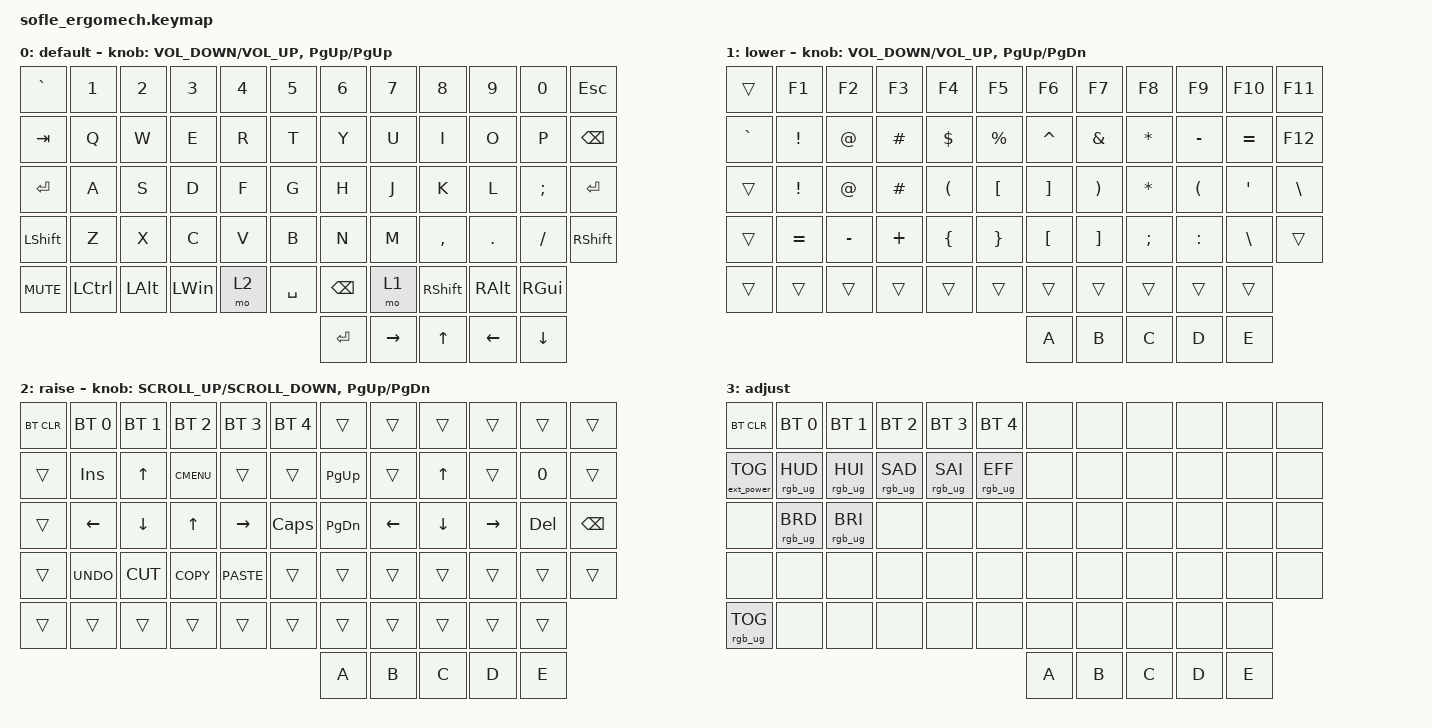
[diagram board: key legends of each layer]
/*
 * Copyright (c) 2020 The ZMK Contributors
 *
 * SPDX-License-Identifier: MIT
 */

#include <behaviors.dtsi>
#include <dt-bindings/zmk/bt.h>
#include <dt-bindings/zmk/ext_power.h>
#include <dt-bindings/zmk/keys.h>
#include <dt-bindings/zmk/rgb.h>

#define BASE 0
#define LOWER 1
#define RAISE 2
#define ADJUST 3

/ {
    // Activate ADJUST layer by pressing raise and lower

    conditional_layers {
        compatible = "zmk,conditional-layers";

        adjust_layer {
            if-layers = <LOWER RAISE>;
            then-layer = <ADJUST>;
        };
    };

    keymap {
        compatible = "zmk,keymap";

        default_layer {
            label = "default";

            // ------------------------------------------------------------------------------------------------------------
            // |   `   |  1  |  2  |  3   |  4   |  5   |                   |  6   |  7    |  8    |  9   |   0   |       |
            // |  ESC  |  Q  |  W  |  E   |  R   |  T   |                   |  Y   |  U    |  I    |  O   |   P   | BKSPC |
            // |  TAB  |  A  |  S  |  D   |  F   |  G   |                   |  H   |  J    |  K    |  L   |   ;   |   '   |
            // | SHIFT |  Z  |  X  |  C   |  V   |  B   |  MUTE  |  |       |  N   |  M    |  ,    |  .   |   /   | SHIFT |
            //               | GUI | ALT  | CTRL | LOWER|  ENTER |  | SPACE | RAISE| CTRL  | ALT   | GUI  |

            bindings = <
&kp GRAVE   &kp N1            &kp N2    &kp N3        &kp N4  &kp N5     &kp N6         &kp N7     &kp N8           &kp N9    &kp N0    &kp ESCAPE
&kp TAB     &kp Q             &kp W     &kp E         &kp R   &kp T      &kp Y          &kp U      &kp I            &kp O     &kp P     &kp BSPC
&kp ENTER   &kp A             &kp S     &kp D         &kp F   &kp G      &kp H          &kp J      &kp K            &kp L     &kp SEMI  &kp ENTER
&kp LSHFT   &kp Z             &kp X     &kp C         &kp V   &kp B      &kp N          &kp M      &kp COMMA        &kp DOT   &kp FSLH  &kp RSHFT
&kp C_MUTE  &kp LEFT_CONTROL  &kp LALT  &kp LEFT_WIN  &mo 2   &kp SPACE  &kp BACKSPACE  &mo 1      &kp RIGHT_SHIFT  &kp RALT  &kp RGUI
                                                                         &kp ENTER      &kp RIGHT  &kp UP_ARROW     &kp LEFT  &kp DOWN
            >;

            sensor-bindings =
                <&inc_dec_kp C_VOLUME_DOWN C_VOLUME_UP>,
                <&inc_dec_kp PG_UP PG_UP>;
        };

        lower_layer {
            label = "lower";

            // TODO: Some binds are waiting for shifted keycode support.
            // ------------------------------------------------------------------------------------------------------------
            // |       |  F1 |  F2 |  F3  |  F4  |  F5  |                   |  F6  |  F7   |  F8   |  F9  |  F10  |  F11  |
            // |   `   |  1  |  2  |  3   |  4   |  5   |                   |  6   |  7    |  8    |  9   |   0   |  F12  |
            // |       |  !  |  @  |  #   |  $   |  %   |                   |  ^   |  &    |  *    |  (   |   )   |   |   |
            // |       |  =  |  -  |  +   |  {   |  }   |        |  |       |  [   |  ]    |  ;    |  :   |   \   |       |
            //               |     |      |      |      |        |  |       |      |       |       |      |

            bindings = <
&trans     &kp F1           &kp F2     &kp F3    &kp F4                &kp F5            &kp F6             &kp F7                 &kp F8        &kp F9     &kp F10    &kp F11
&kp GRAVE  &kp EXCLAMATION  &kp AT     &kp HASH  &kp DOLLAR            &kp PERCENT       &kp CARET          &kp AMPERSAND          &kp ASTERISK  &kp MINUS  &kp EQUAL  &kp F12
&trans     &kp EXCL         &kp AT     &kp HASH  &kp LEFT_PARENTHESIS  &kp LEFT_BRACKET  &kp RIGHT_BRACKET  &kp RIGHT_PARENTHESIS  &kp ASTRK     &kp LPAR   &kp APOS   &kp BACKSLASH
&trans     &kp EQUAL        &kp MINUS  &kp PLUS  &kp LBRC              &kp RBRC          &kp LBKT           &kp RBKT               &kp SEMI      &kp COLON  &kp BSLH   &trans
&trans     &trans           &trans     &trans    &trans                &trans            &trans             &trans                 &trans        &trans     &trans
                                                                                         &kp A              &kp B                  &kp C         &kp D      &kp E
            >;

            sensor-bindings =
                <&inc_dec_kp C_VOLUME_DOWN C_VOLUME_UP>,
                <&inc_dec_kp PG_UP PG_DN>;
        };

        raise_layer {
            label = "raise";

            // ------------------------------------------------------------------------------------------------------------
            // | BTCLR | BT1  | BT2  |  BT3  |  BT4  |  BT5 |                |      |      |       |      |       |       |
            // |       | INS  | PSCR | GUI   |       |      |                | PGUP |      |   ^   |      |       |       |
            // |       | ALT  | CTRL | SHIFT |       | CAPS |                | PGDN |   <- |   v   |  ->  |  DEL  | BKSPC |
            // |       | UNDO | CUT  | COPY  | PASTE |      |      |  |      |      |      |       |      |       |       |
            //                |      |       |       |      |      |  |      |      |      |       |      |

            bindings = <
&bt BT_CLR  &bt BT_SEL 0    &bt BT_SEL 1    &bt BT_SEL 2  &bt BT_SEL 3     &bt BT_SEL 4  &trans     &trans    &trans    &trans     &trans   &trans
&trans      &kp INS         &kp UP_ARROW    &kp K_CMENU   &trans           &trans        &kp PG_UP  &trans    &kp UP    &trans     &kp N0   &trans
&trans      &kp LEFT_ARROW  &kp DOWN_ARROW  &kp UP_ARROW  &kp RIGHT_ARROW  &kp CLCK      &kp PG_DN  &kp LEFT  &kp DOWN  &kp RIGHT  &kp DEL  &kp BSPC
&trans      &kp K_UNDO      &kp K_CUT       &kp K_COPY    &kp K_PASTE      &trans        &trans     &trans    &trans    &trans     &trans   &trans
&trans      &trans          &trans          &trans        &trans           &trans        &trans     &trans    &trans    &trans     &trans
                                                                                         &kp A      &kp B     &kp C     &kp D      &kp E
            >;

            sensor-bindings =
                <&inc_dec_kp K_SCROLL_UP K_SCROLL_DOWN>,
                <&inc_dec_kp PG_UP PG_DN>;
        };

        adjust_layer {
            // ----------------------------------------------------------------------------------------------------------------------------
            // | BTCLR  |  BT1    |  BT2    |   BT3   |   BT4   |   BT5   |                  |      |      |       |      |       |       |
            // | EXTPWR | RGB_HUD | RGB_HUI | RGB_SAD | RGB_SAI | RGB_EFF |                  |      |      |       |      |       |       |
            // |        | RGB_BRD | RGB_BRI |         |         |         |                  |      |      |       |      |       |       |
            // |        |         |         |         |         |         | RGB_TOG | |      |      |      |       |      |       |       |
            //                    |         |         |         |         |         | |      |      |      |       |      |

            label = "adjust";
            bindings = <
&bt BT_CLR         &bt BT_SEL 0     &bt BT_SEL 1     &bt BT_SEL 2     &bt BT_SEL 3     &bt BT_SEL 4     &none  &none  &none  &none  &none  &none
&ext_power EP_TOG  &rgb_ug RGB_HUD  &rgb_ug RGB_HUI  &rgb_ug RGB_SAD  &rgb_ug RGB_SAI  &rgb_ug RGB_EFF  &none  &none  &none  &none  &none  &none
&none              &rgb_ug RGB_BRD  &rgb_ug RGB_BRI  &none            &none            &none            &none  &none  &none  &none  &none  &none
&none              &none            &none            &none            &none            &none            &none  &none  &none  &none  &none  &none
&rgb_ug RGB_TOG    &none            &none            &none            &none            &none            &none  &none  &none  &none  &none
                                                                                                        &kp A  &kp B  &kp C  &kp D  &kp E
            >;
        };
    };
};
